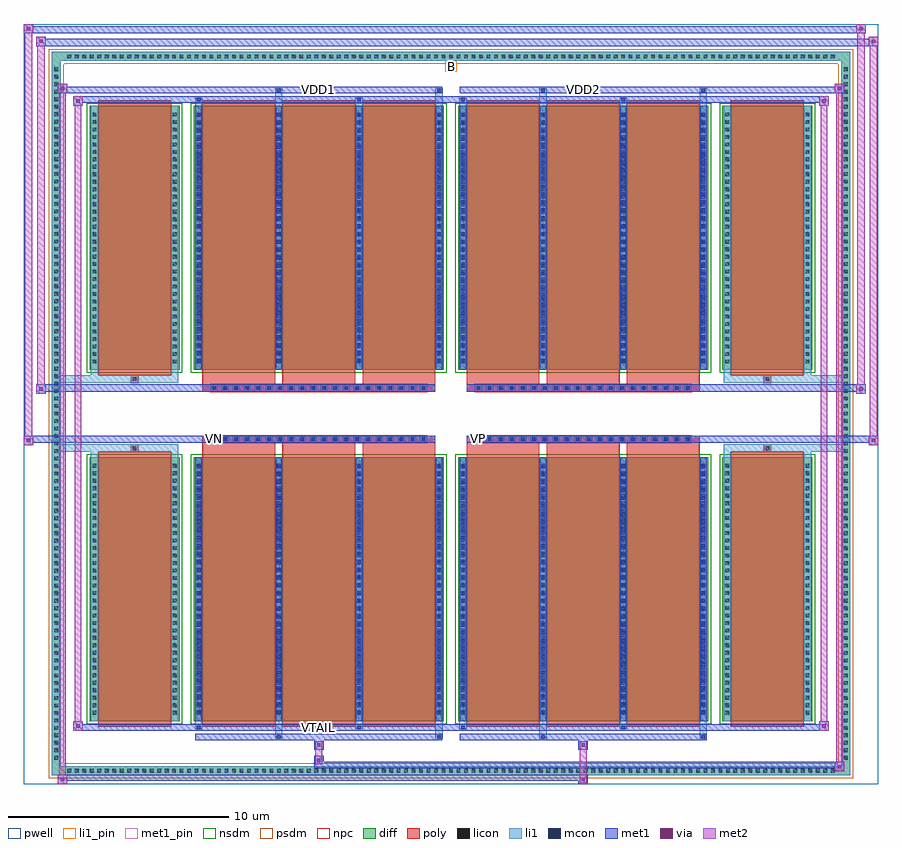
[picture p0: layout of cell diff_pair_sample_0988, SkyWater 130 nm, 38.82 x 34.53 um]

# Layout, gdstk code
import gdstk
lib = gdstk.Library(unit=1e-6, precision=5e-09)
def R(c, l, rs):  # rectangles x0, y0, x1, y1
    for r in rs: c.add(gdstk.rectangle(r[:2], r[2:], *l))
def A(c, l, x, y, w, h, nx, ny, dx, dy):  # array of equal rectangles
    R(c, l, [(x+i*dx, y+j*dy, x+i*dx+w, y+j*dy+h) for i in range(nx) for j in range(ny)])
def P(c, l, *ps):  # polygons
    for p in ps: c.add(gdstk.Polygon(p, *l))
pwell = (64, 44)
diff = (65, 20)
poly = (66, 20)
licon = (66, 44)
li1_pin = (67, 16)
li1 = (67, 20)
mcon = (67, 44)
met1_pin = (68, 16)
met1 = (68, 20)
via = (68, 44)
met2 = (69, 20)
nsdm = (93, 44)
psdm = (94, 20)
npc = (95, 20)

diff_pair_sample_0988 = lib.new_cell('diff_pair_sample_0988')
R(diff_pair_sample_0988, pwell, [(-19.41,-16.83,19.41,17.7), (-16.73,-15.02,-0.01,-0.8), (0.01,-15.02,16.73,-0.8), (-16.73,0.8,-0.01,15.02), (0.01,0.8,16.73,15.02)])
A(diff_pair_sample_0988, diff, -17.545, -16.43, 0.41, 0.41, 103, 2, 0.34, 32.45)
A(diff_pair_sample_0988, diff, -18.14, -15.845, 0.41, 0.41, 1, 93, 0, 0.34)
A(diff_pair_sample_0988, diff, 17.73, -15.845, 0.41, 0.41, 1, 93, 0, 0.34)
R(diff_pair_sample_0988, diff, [(-17.545,-16.43,17.545,-16.02), (-18.14,-15.845,-17.73,15.845), (17.73,-15.845,18.14,15.845), (-16.42,-13.975,-12.33,-1.985), (-11.69,-13.975,-0.32,-1.985), (0.32,-13.975,11.69,-1.985), (12.33,-13.975,16.42,-1.985), (-16.42,1.985,-12.33,13.975), (-11.69,1.985,-0.32,13.975), (0.32,1.985,11.69,13.975), (12.33,1.985,16.42,13.975), (-17.545,16.02,17.545,16.43)])
P(diff_pair_sample_0988, diff, [(18.14,16.43),(-18.14,16.43),(-18.14,-16.02),(-17.73,-16.02),(-17.73,16.02),(17.73,16.02),(17.73,-16.02),(-17.73,-16.02),(-18.14,-16.02),(-18.14,-16.43),(18.14,-16.43)])
A(diff_pair_sample_0988, poly, -11.3, -14.225, 3.31, 12.49, 3, 2, 3.64, 15.96)
A(diff_pair_sample_0988, poly, 0.71, -14.225, 3.31, 12.49, 3, 2, 3.64, 15.96)
A(diff_pair_sample_0988, poly, -11.3, -1.735, 3.31, 0.405, 3, 2, 3.64, 3.065)
A(diff_pair_sample_0988, poly, 0.71, -1.735, 3.31, 0.405, 3, 2, 3.64, 3.065)
A(diff_pair_sample_0988, poly, -10.92, -1.33, 0.33, 0.33, 20, 2, 0.5, 2.33)
A(diff_pair_sample_0988, poly, 1.09, -1.33, 0.33, 0.33, 20, 2, 0.5, 2.33)
R(diff_pair_sample_0988, poly, [(-16.03,-14.225,-12.72,-1.735), (12.72,-14.225,16.03,-1.735), (-14.54,-1.735,-14.21,-1.405), (-14.54,-1.735,-14.21,-1.405), (14.21,-1.735,14.54,-1.405), (14.21,-1.735,14.54,-1.405), (-11.3,-1.33,-0.71,-1), (0.71,-1.33,11.3,-1), (-11.3,1,-0.71,1.33), (0.71,1,11.3,1.33), (-14.54,1.405,-14.21,1.735), (-14.54,1.405,-14.21,1.735), (14.21,1.405,14.54,1.735), (14.21,1.405,14.54,1.735), (-16.03,1.735,-12.72,14.225), (12.72,1.735,16.03,14.225)])
A(diff_pair_sample_0988, licon, -17.425, -16.31, 0.17, 0.17, 103, 2, 0.34, 32.45)
A(diff_pair_sample_0988, licon, -18.02, -15.725, 0.17, 0.17, 1, 93, 0, 0.34)
A(diff_pair_sample_0988, licon, 17.85, -15.725, 0.17, 0.17, 1, 93, 0, 0.34)
A(diff_pair_sample_0988, licon, -16.28, -13.675, 0.17, 0.17, 1, 34, 0, 0.34)
A(diff_pair_sample_0988, licon, -12.64, -13.675, 0.17, 0.17, 1, 34, 0, 0.34)
A(diff_pair_sample_0988, licon, -11.55, -13.675, 0.17, 0.17, 4, 34, 3.64, 0.34)
A(diff_pair_sample_0988, licon, 0.46, -13.675, 0.17, 0.17, 4, 34, 3.64, 0.34)
A(diff_pair_sample_0988, licon, 12.47, -13.675, 0.17, 0.17, 1, 34, 0, 0.34)
A(diff_pair_sample_0988, licon, 16.11, -13.675, 0.17, 0.17, 1, 34, 0, 0.34)
A(diff_pair_sample_0988, licon, -10.84, -1.25, 0.17, 0.17, 20, 2, 0.5, 2.33)
A(diff_pair_sample_0988, licon, 1.17, -1.25, 0.17, 0.17, 20, 2, 0.5, 2.33)
A(diff_pair_sample_0988, licon, -16.28, 2.285, 0.17, 0.17, 1, 34, 0, 0.34)
A(diff_pair_sample_0988, licon, -12.64, 2.285, 0.17, 0.17, 1, 34, 0, 0.34)
A(diff_pair_sample_0988, licon, -11.55, 2.285, 0.17, 0.17, 4, 34, 3.64, 0.34)
A(diff_pair_sample_0988, licon, 0.46, 2.285, 0.17, 0.17, 4, 34, 3.64, 0.34)
A(diff_pair_sample_0988, licon, 12.47, 2.285, 0.17, 0.17, 1, 34, 0, 0.34)
A(diff_pair_sample_0988, licon, 16.11, 2.285, 0.17, 0.17, 1, 34, 0, 0.34)
R(diff_pair_sample_0988, licon, [(-14.46,-1.655,-14.29,-1.485), (14.29,-1.655,14.46,-1.485), (-14.46,1.485,-14.29,1.655), (14.29,1.485,14.46,1.655)])
R(diff_pair_sample_0988, li1_pin, [(-0.25,15.52,0.25,16.02)])
A(diff_pair_sample_0988, li1, -17.505, -16.39, 0.33, 0.33, 103, 2, 0.34, 32.45)
A(diff_pair_sample_0988, li1, -18.1, -15.805, 0.33, 0.33, 1, 93, 0, 0.34)
A(diff_pair_sample_0988, li1, 17.77, -15.805, 0.33, 0.33, 1, 93, 0, 0.34)
A(diff_pair_sample_0988, li1, -11.63, -13.975, 0.33, 11.99, 4, 2, 3.64, 15.96)
A(diff_pair_sample_0988, li1, 0.38, -13.975, 0.33, 11.99, 4, 2, 3.64, 15.96)
A(diff_pair_sample_0988, li1, -16.36, -13.755, 0.33, 0.33, 1, 34, 0, 0.34)
A(diff_pair_sample_0988, li1, -12.72, -13.755, 0.33, 0.33, 1, 34, 0, 0.34)
A(diff_pair_sample_0988, li1, -11.63, -13.755, 0.33, 0.33, 4, 34, 3.64, 0.34)
A(diff_pair_sample_0988, li1, 0.38, -13.755, 0.33, 0.33, 4, 34, 3.64, 0.34)
A(diff_pair_sample_0988, li1, 12.39, -13.755, 0.33, 0.33, 1, 34, 0, 0.34)
A(diff_pair_sample_0988, li1, 16.03, -13.755, 0.33, 0.33, 1, 34, 0, 0.34)
A(diff_pair_sample_0988, li1, -11.55, -13.645, 0.17, 0.17, 4, 32, 3.64, 0.36)
A(diff_pair_sample_0988, li1, -11.55, -13.645, 0.17, 11.33, 4, 2, 3.64, 15.96)
A(diff_pair_sample_0988, li1, 0.46, -13.645, 0.17, 0.17, 4, 32, 3.64, 0.36)
A(diff_pair_sample_0988, li1, 0.46, -13.645, 0.17, 11.33, 4, 2, 3.64, 15.96)
A(diff_pair_sample_0988, li1, -10.92, -1.33, 0.33, 0.33, 20, 2, 0.5, 2.33)
A(diff_pair_sample_0988, li1, 1.09, -1.33, 0.33, 0.33, 20, 2, 0.5, 2.33)
A(diff_pair_sample_0988, li1, -16.36, 2.205, 0.33, 0.33, 1, 34, 0, 0.34)
A(diff_pair_sample_0988, li1, -12.72, 2.205, 0.33, 0.33, 1, 34, 0, 0.34)
A(diff_pair_sample_0988, li1, -11.63, 2.205, 0.33, 0.33, 4, 34, 3.64, 0.34)
A(diff_pair_sample_0988, li1, 0.38, 2.205, 0.33, 0.33, 4, 34, 3.64, 0.34)
A(diff_pair_sample_0988, li1, 12.39, 2.205, 0.33, 0.33, 1, 34, 0, 0.34)
A(diff_pair_sample_0988, li1, 16.03, 2.205, 0.33, 0.33, 1, 34, 0, 0.34)
A(diff_pair_sample_0988, li1, -11.55, 2.315, 0.17, 0.17, 4, 32, 3.64, 0.36)
A(diff_pair_sample_0988, li1, 0.46, 2.315, 0.17, 0.17, 4, 32, 3.64, 0.36)
R(diff_pair_sample_0988, li1, [(-18.14,-16.43,-17.73,-16.02), (-18.14,-16.43,-17.73,-16.02), (-17.73,-16.43,17.73,-16.02), (17.73,-16.43,18.14,-16.02), (17.73,-16.43,18.14,-16.02), (-18.14,-16.02,-17.73,16.02), (17.73,-16.02,18.14,16.02), (-7.99,-14.78,-7.66,-13.975), (-7.91,-14.78,-7.74,-14.61), (-0.71,-14.78,-0.38,-13.975), (-0.63,-14.78,-0.46,-14.61), (4.02,-14.78,4.35,-13.975), (4.1,-14.78,4.27,-14.61), (11.3,-14.78,11.63,-13.975), (11.38,-14.78,11.55,-14.61), (-11.63,-14.35,-11.3,-13.975), (-11.55,-14.35,-11.38,-14.18), (-4.35,-14.35,-4.02,-13.975), (-4.27,-14.35,-4.1,-14.18), (0.38,-14.35,0.71,-13.975), (0.46,-14.35,0.63,-14.18), (7.66,-14.35,7.99,-13.975), (7.74,-14.35,7.91,-14.18), (-16.36,-13.975,-16.03,-1.985), (-12.72,-13.975,-12.39,-1.985), (12.39,-13.975,12.72,-1.985), (16.03,-13.975,16.36,-1.985), (-16.36,-1.985,-16.03,-1.405), (-12.72,-1.985,-12.39,-1.405), (12.39,-1.985,12.72,-1.405), (16.03,-1.985,16.36,-1.405), (-18.14,-1.735,-14.54,-1.405), (-16.36,-1.735,-14.54,-1.405), (-14.54,-1.735,-14.21,-1.405), (-14.21,-1.735,-12.39,-1.405), (12.39,-1.735,14.21,-1.405), (14.21,-1.735,14.54,-1.405), (14.21,-1.735,18.14,-1.405), (14.54,-1.735,16.36,-1.405), (-18.14,1.405,-14.54,1.735), (-16.36,1.405,-14.54,1.735), (-16.36,1.405,-16.03,1.985), (-14.54,1.405,-14.21,1.735), (-14.21,1.405,-12.39,1.735), (-12.72,1.405,-12.39,1.985), (12.39,1.405,14.21,1.735), (12.39,1.405,12.72,1.985), (14.21,1.405,14.54,1.735), (14.21,1.405,18.14,1.735), (14.54,1.405,16.36,1.735), (16.03,1.405,16.36,1.985), (-16.36,1.985,-16.03,13.975), (-12.72,1.985,-12.39,13.975), (12.39,1.985,12.72,13.975), (16.03,1.985,16.36,13.975), (-11.63,13.975,-11.3,14.35), (-7.99,13.975,-7.66,14.78), (-4.35,13.975,-4.02,14.35), (-0.71,13.975,-0.38,14.78), (0.38,13.975,0.71,14.35), (4.02,13.975,4.35,14.78), (7.66,13.975,7.99,14.35), (11.3,13.975,11.63,14.78), (-11.55,14.18,-11.38,14.35), (-4.27,14.18,-4.1,14.35), (0.46,14.18,0.63,14.35), (7.74,14.18,7.91,14.35), (-7.91,14.61,-7.74,14.78), (-0.63,14.61,-0.46,14.78), (4.1,14.61,4.27,14.78), (11.38,14.61,11.55,14.78), (-18.14,16.02,-17.73,16.43), (-18.14,16.02,-17.73,16.43), (-17.73,16.02,17.73,16.43), (17.73,16.02,18.14,16.43), (17.73,16.02,18.14,16.43)])
A(diff_pair_sample_0988, mcon, -11.55, -13.645, 0.17, 0.17, 4, 32, 3.64, 0.36)
A(diff_pair_sample_0988, mcon, 0.46, -13.645, 0.17, 0.17, 4, 32, 3.64, 0.36)
A(diff_pair_sample_0988, mcon, -10.84, -1.25, 0.17, 0.17, 20, 2, 0.5, 2.33)
A(diff_pair_sample_0988, mcon, 1.17, -1.25, 0.17, 0.17, 20, 2, 0.5, 2.33)
A(diff_pair_sample_0988, mcon, -11.55, 2.315, 0.17, 0.17, 4, 32, 3.64, 0.36)
A(diff_pair_sample_0988, mcon, 0.46, 2.315, 0.17, 0.17, 4, 32, 3.64, 0.36)
R(diff_pair_sample_0988, mcon, [(-7.91,-14.78,-7.74,-14.61), (-0.63,-14.78,-0.46,-14.61), (4.1,-14.78,4.27,-14.61), (11.38,-14.78,11.55,-14.61), (-11.55,-14.35,-11.38,-14.18), (-4.27,-14.35,-4.1,-14.18), (0.46,-14.35,0.63,-14.18), (7.74,-14.35,7.91,-14.18), (-11.55,14.18,-11.38,14.35), (-4.27,14.18,-4.1,14.35), (0.46,14.18,0.63,14.35), (7.74,14.18,7.91,14.35), (-7.91,14.61,-7.74,14.78), (-0.63,14.61,-0.46,14.78), (4.1,14.61,4.27,14.78), (11.38,14.61,11.55,14.78)])
R(diff_pair_sample_0988, met1_pin, [(-6.14,-14.39,-5.87,-14.12), (-10.89,-1.29,-10.62,-1.02), (1.12,-1.29,1.39,-1.02), (-6.14,14.57,-5.87,14.84), (5.87,14.57,6.14,14.84)])
A(diff_pair_sample_0988, met1, -11.61, -13.975, 0.29, 11.99, 4, 2, 3.64, 15.96)
A(diff_pair_sample_0988, met1, 0.4, -13.975, 0.29, 11.99, 4, 2, 3.64, 15.96)
A(diff_pair_sample_0988, met1, -11.61, -13.705, 0.29, 0.29, 4, 32, 3.64, 0.36)
A(diff_pair_sample_0988, met1, 0.4, -13.705, 0.29, 0.29, 4, 32, 3.64, 0.36)
A(diff_pair_sample_0988, met1, -10.9, -1.31, 0.29, 0.29, 20, 2, 0.5, 2.33)
A(diff_pair_sample_0988, met1, 1.11, -1.31, 0.29, 0.29, 20, 2, 0.5, 2.33)
A(diff_pair_sample_0988, met1, -11.61, 2.255, 0.29, 0.29, 4, 32, 3.64, 0.36)
A(diff_pair_sample_0988, met1, 0.4, 2.255, 0.29, 0.29, 4, 32, 3.64, 0.36)
R(diff_pair_sample_0988, met1, [(-17.87,-16.83,-17.44,-16.4), (5.79,-16.83,6.22,-16.4), (-17.87,-16.69,6.22,-16.4), (17.44,-16.26,17.87,-15.83), (-6.22,-16.12,17.87,-15.83), (-6.22,-15.98,-5.79,-15.55), (-6.22,-15.27,-5.79,-14.84), (5.79,-15.27,6.22,-14.84), (-11.61,-14.84,-0.4,-14.55), (-7.97,-14.84,-7.68,-14.55), (-0.69,-14.84,-0.4,-14.55), (0.4,-14.84,11.61,-14.55), (4.04,-14.84,4.33,-14.55), (11.32,-14.84,11.61,-14.55), (-17.16,-14.41,-16.73,-13.98), (-17.16,-14.41,-11.61,-14.12), (-11.61,-14.41,-11.32,-14.12), (-11.61,-14.41,-0.4,-14.12), (-4.33,-14.41,-4.04,-14.12), (-0.4,-14.41,0.4,-14.12), (0.4,-14.41,0.69,-14.12), (0.4,-14.41,11.61,-14.12), (7.68,-14.41,7.97,-14.12), (11.61,-14.41,17.16,-14.12), (16.73,-14.41,17.16,-13.98), (-19.41,-1.43,-18.98,-1), (18.98,-1.43,19.41,-1), (-19.41,-1.33,-0.71,-1), (-11.3,-1.33,-0.71,-1), (0.71,-1.33,11.3,-1), (0.71,-1.33,19.41,-1), (-18.84,0.9,-18.41,1.33), (18.41,0.9,18.84,1.33), (-18.84,1,-11.3,1.33), (-11.3,1,-0.71,1.33), (0.71,1,11.3,1.33), (11.3,1,18.84,1.33), (-17.16,13.98,-16.73,14.41), (16.73,13.98,17.16,14.41), (-17.16,14.12,-11.61,14.41), (-11.61,14.12,-11.32,14.41), (-11.61,14.12,-0.4,14.41), (-4.33,14.12,-4.04,14.41), (-0.4,14.12,0.4,14.41), (0.4,14.12,0.69,14.41), (0.4,14.12,11.61,14.41), (7.68,14.12,7.97,14.41), (11.61,14.12,17.16,14.41), (-17.87,14.55,-17.44,14.98), (-17.87,14.55,-11.61,14.84), (-11.61,14.55,-0.4,14.84), (-7.97,14.55,-7.68,14.84), (-0.69,14.55,-0.4,14.84), (0.4,14.55,11.61,14.84), (4.04,14.55,4.33,14.84), (11.32,14.55,11.61,14.84), (11.61,14.55,17.87,14.84), (17.44,14.55,17.87,14.98), (-18.84,16.7,-18.41,17.13), (-18.84,16.7,-16.73,17.03), (-16.73,16.7,16.73,17.03), (16.73,16.7,19.41,17.03), (18.98,16.7,19.41,17.13), (-19.41,17.27,-18.98,17.7), (-19.41,17.27,-16.73,17.6), (-16.73,17.27,16.73,17.6), (16.73,17.27,18.84,17.6), (18.41,17.27,18.84,17.7)])
R(diff_pair_sample_0988, via, [(-17.73,-16.69,-17.58,-16.54), (5.93,-16.69,6.08,-16.54), (17.58,-16.12,17.73,-15.97), (-6.08,-15.84,-5.93,-15.69), (-6.08,-15.13,-5.93,-14.98), (5.93,-15.13,6.08,-14.98), (-17.02,-14.27,-16.87,-14.12), (16.87,-14.27,17.02,-14.12), (-19.27,-1.29,-19.12,-1.14), (19.12,-1.29,19.27,-1.14), (-18.7,1.04,-18.55,1.19), (18.55,1.04,18.7,1.19), (-17.02,14.12,-16.87,14.27), (16.87,14.12,17.02,14.27), (-17.73,14.69,-17.58,14.84), (17.58,14.69,17.73,14.84), (-18.7,16.84,-18.55,16.99), (19.12,16.84,19.27,16.99), (-19.27,17.41,-19.12,17.56), (18.55,17.41,18.7,17.56)])
R(diff_pair_sample_0988, met2, [(-17.87,-16.83,-17.44,-16.4), (-17.8,-16.83,-17.51,14.98), (-17.51,-16.83,-17.44,-16.4), (-17.82,-16.78,-17.49,-16.45), (5.84,-16.78,6.17,-16.45), (5.84,-16.45,6.17,-15.22), (17.44,-16.26,17.87,-15.83), (17.51,-16.26,17.8,14.98), (17.8,-16.26,17.87,-15.83), (17.49,-16.21,17.82,-15.88), (-6.17,-15.93,-5.84,-15.6), (-6.17,-15.6,-5.84,-15.22), (-6.17,-15.22,-5.84,-14.89), (5.84,-15.22,6.17,-14.89), (-17.16,-14.41,-16.73,-13.98), (-17.09,-14.41,-16.8,14.41), (-16.8,-14.41,-16.73,-13.98), (16.73,-14.41,17.16,-13.98), (16.8,-14.41,17.09,14.41), (17.09,-14.41,17.16,-13.98), (-17.11,-14.36,-16.78,-14.03), (16.78,-14.36,17.11,-14.03), (-19.41,-1.43,-18.98,-1), (-19.36,-1.43,-19.03,17.7), (-19.03,-1.43,-18.98,-1), (18.98,-1.43,19.41,-1), (19.03,-1.43,19.36,17.13), (19.36,-1.43,19.41,-1), (-19.36,-1.38,-19.03,-1.05), (19.03,-1.38,19.36,-1.05), (-18.84,0.9,-18.41,1.33), (-18.79,0.9,-18.46,17.13), (-18.46,0.9,-18.41,1.33), (18.41,0.9,18.84,1.33), (18.46,0.9,18.79,17.7), (18.79,0.9,18.84,1.33), (-18.79,0.95,-18.46,1.28), (18.46,0.95,18.79,1.28), (-17.16,13.98,-16.73,14.41), (-16.8,13.98,-16.73,14.41), (16.73,13.98,17.16,14.41), (17.09,13.98,17.16,14.41), (-17.11,14.03,-16.78,14.36), (16.78,14.03,17.11,14.36), (-17.87,14.55,-17.44,14.98), (-17.51,14.55,-17.44,14.98), (17.44,14.55,17.87,14.98), (17.8,14.55,17.87,14.98), (-17.82,14.6,-17.49,14.93), (17.49,14.6,17.82,14.93), (-18.84,16.7,-18.41,17.13), (-18.46,16.7,-18.41,17.13), (18.98,16.7,19.41,17.13), (19.36,16.7,19.41,17.13), (-18.79,16.75,-18.46,17.08), (19.03,16.75,19.36,17.08), (-19.41,17.27,-18.98,17.7), (-19.03,17.27,-18.98,17.7), (18.41,17.27,18.84,17.7), (18.79,17.27,18.84,17.7), (-19.36,17.32,-19.03,17.65), (18.46,17.32,18.79,17.65)])
R(diff_pair_sample_0988, nsdm, [(-16.55,-14.105,-12.2,-1.855), (-11.82,-14.105,-0.19,-1.855), (0.19,-14.105,11.82,-1.855), (12.2,-14.105,16.55,-1.855), (-16.55,1.855,-12.2,14.105), (-11.82,1.855,-0.19,14.105), (0.19,1.855,11.82,14.105), (12.2,1.855,16.55,14.105)])
P(diff_pair_sample_0988, psdm, [(18.27,16.56),(-18.27,16.56),(-18.27,-15.89),(-17.6,-15.89),(-17.6,15.89),(17.6,15.89),(17.6,-15.89),(-17.6,-15.89),(-18.27,-15.89),(-18.27,-16.56),(18.27,-16.56)])
A(diff_pair_sample_0988, npc, -10.94, -1.35, 0.37, 0.37, 20, 2, 0.5, 2.33)
A(diff_pair_sample_0988, npc, 1.07, -1.35, 0.37, 0.37, 20, 2, 0.5, 2.33)
R(diff_pair_sample_0988, npc, [(-14.56,-1.755,-14.19,-1.385), (14.19,-1.755,14.56,-1.385), (-10.94,-1.35,-10.07,-0.98), (-10.94,-1.35,-10.07,-0.98), (-10.44,-1.35,-9.57,-0.98), (-10.44,-1.35,-9.57,-0.98), (-9.94,-1.35,-9.07,-0.98), (-9.94,-1.35,-9.07,-0.98), (-9.44,-1.35,-8.57,-0.98), (-9.44,-1.35,-8.57,-0.98), (-8.94,-1.35,-8.07,-0.98), (-8.94,-1.35,-8.07,-0.98), (-8.44,-1.35,-7.57,-0.98), (-8.44,-1.35,-7.57,-0.98), (-7.94,-1.35,-7.07,-0.98), (-7.94,-1.35,-7.07,-0.98), (-7.44,-1.35,-6.57,-0.98), (-7.44,-1.35,-6.57,-0.98), (-6.94,-1.35,-6.07,-0.98), (-6.94,-1.35,-6.07,-0.98), (-6.44,-1.35,-5.57,-0.98), (-6.44,-1.35,-5.57,-0.98), (-5.94,-1.35,-5.07,-0.98), (-5.94,-1.35,-5.07,-0.98), (-5.44,-1.35,-4.57,-0.98), (-5.44,-1.35,-4.57,-0.98), (-4.94,-1.35,-4.07,-0.98), (-4.94,-1.35,-4.07,-0.98), (-4.44,-1.35,-3.57,-0.98), (-4.44,-1.35,-3.57,-0.98), (-3.94,-1.35,-3.07,-0.98), (-3.94,-1.35,-3.07,-0.98), (-3.44,-1.35,-2.57,-0.98), (-3.44,-1.35,-2.57,-0.98), (-2.94,-1.35,-2.07,-0.98), (-2.94,-1.35,-2.07,-0.98), (-2.44,-1.35,-1.57,-0.98), (-2.44,-1.35,-1.57,-0.98), (-1.94,-1.35,-1.07,-0.98), (-1.94,-1.35,-1.07,-0.98), (1.07,-1.35,1.94,-0.98), (1.07,-1.35,1.94,-0.98), (1.57,-1.35,2.44,-0.98), (1.57,-1.35,2.44,-0.98), (2.07,-1.35,2.94,-0.98), (2.07,-1.35,2.94,-0.98), (2.57,-1.35,3.44,-0.98), (2.57,-1.35,3.44,-0.98), (3.07,-1.35,3.94,-0.98), (3.07,-1.35,3.94,-0.98), (3.57,-1.35,4.44,-0.98), (3.57,-1.35,4.44,-0.98), (4.07,-1.35,4.94,-0.98), (4.07,-1.35,4.94,-0.98), (4.57,-1.35,5.44,-0.98), (4.57,-1.35,5.44,-0.98), (5.07,-1.35,5.94,-0.98), (5.07,-1.35,5.94,-0.98), (5.57,-1.35,6.44,-0.98), (5.57,-1.35,6.44,-0.98), (6.07,-1.35,6.94,-0.98), (6.07,-1.35,6.94,-0.98), (6.57,-1.35,7.44,-0.98), (6.57,-1.35,7.44,-0.98), (7.07,-1.35,7.94,-0.98), (7.07,-1.35,7.94,-0.98), (7.57,-1.35,8.44,-0.98), (7.57,-1.35,8.44,-0.98), (8.07,-1.35,8.94,-0.98), (8.07,-1.35,8.94,-0.98), (8.57,-1.35,9.44,-0.98), (8.57,-1.35,9.44,-0.98), (9.07,-1.35,9.94,-0.98), (9.07,-1.35,9.94,-0.98), (9.57,-1.35,10.44,-0.98), (9.57,-1.35,10.44,-0.98), (10.07,-1.35,10.94,-0.98), (10.07,-1.35,10.94,-0.98), (-10.94,0.98,-10.07,1.35), (-10.94,0.98,-10.07,1.35), (-10.44,0.98,-9.57,1.35), (-10.44,0.98,-9.57,1.35), (-9.94,0.98,-9.07,1.35), (-9.94,0.98,-9.07,1.35), (-9.44,0.98,-8.57,1.35), (-9.44,0.98,-8.57,1.35), (-8.94,0.98,-8.07,1.35), (-8.94,0.98,-8.07,1.35), (-8.44,0.98,-7.57,1.35), (-8.44,0.98,-7.57,1.35), (-7.94,0.98,-7.07,1.35), (-7.94,0.98,-7.07,1.35), (-7.44,0.98,-6.57,1.35), (-7.44,0.98,-6.57,1.35), (-6.94,0.98,-6.07,1.35), (-6.94,0.98,-6.07,1.35), (-6.44,0.98,-5.57,1.35), (-6.44,0.98,-5.57,1.35), (-5.94,0.98,-5.07,1.35), (-5.94,0.98,-5.07,1.35), (-5.44,0.98,-4.57,1.35), (-5.44,0.98,-4.57,1.35), (-4.94,0.98,-4.07,1.35), (-4.94,0.98,-4.07,1.35), (-4.44,0.98,-3.57,1.35), (-4.44,0.98,-3.57,1.35), (-3.94,0.98,-3.07,1.35), (-3.94,0.98,-3.07,1.35), (-3.44,0.98,-2.57,1.35), (-3.44,0.98,-2.57,1.35), (-2.94,0.98,-2.07,1.35), (-2.94,0.98,-2.07,1.35), (-2.44,0.98,-1.57,1.35), (-2.44,0.98,-1.57,1.35), (-1.94,0.98,-1.07,1.35), (-1.94,0.98,-1.07,1.35), (1.07,0.98,1.94,1.35), (1.07,0.98,1.94,1.35), (1.57,0.98,2.44,1.35), (1.57,0.98,2.44,1.35), (2.07,0.98,2.94,1.35), (2.07,0.98,2.94,1.35), (2.57,0.98,3.44,1.35), (2.57,0.98,3.44,1.35), (3.07,0.98,3.94,1.35), (3.07,0.98,3.94,1.35), (3.57,0.98,4.44,1.35), (3.57,0.98,4.44,1.35), (4.07,0.98,4.94,1.35), (4.07,0.98,4.94,1.35), (4.57,0.98,5.44,1.35), (4.57,0.98,5.44,1.35), (5.07,0.98,5.94,1.35), (5.07,0.98,5.94,1.35), (5.57,0.98,6.44,1.35), (5.57,0.98,6.44,1.35), (6.07,0.98,6.94,1.35), (6.07,0.98,6.94,1.35), (6.57,0.98,7.44,1.35), (6.57,0.98,7.44,1.35), (7.07,0.98,7.94,1.35), (7.07,0.98,7.94,1.35), (7.57,0.98,8.44,1.35), (7.57,0.98,8.44,1.35), (8.07,0.98,8.94,1.35), (8.07,0.98,8.94,1.35), (8.57,0.98,9.44,1.35), (8.57,0.98,9.44,1.35), (9.07,0.98,9.94,1.35), (9.07,0.98,9.94,1.35), (9.57,0.98,10.44,1.35), (9.57,0.98,10.44,1.35), (10.07,0.98,10.94,1.35), (10.07,0.98,10.94,1.35), (-14.56,1.385,-14.19,1.755), (14.19,1.385,14.56,1.755)])
diff_pair_sample_0988.add(gdstk.Label('VTAIL', (-6.005,-14.255), layer=68, texttype=5))
diff_pair_sample_0988.add(gdstk.Label('VN', (-10.755,-1.155), layer=68, texttype=5))
diff_pair_sample_0988.add(gdstk.Label('VP', (1.255,-1.155), layer=68, texttype=5))
diff_pair_sample_0988.add(gdstk.Label('B', (0,15.77), layer=67, texttype=5))
diff_pair_sample_0988.add(gdstk.Label('VDD2', (6.005,14.705), layer=68, texttype=5))
diff_pair_sample_0988.add(gdstk.Label('VDD1', (-6.005,14.705), layer=68, texttype=5))

lib.write_gds('diff_pair_sample_0988.gds')
